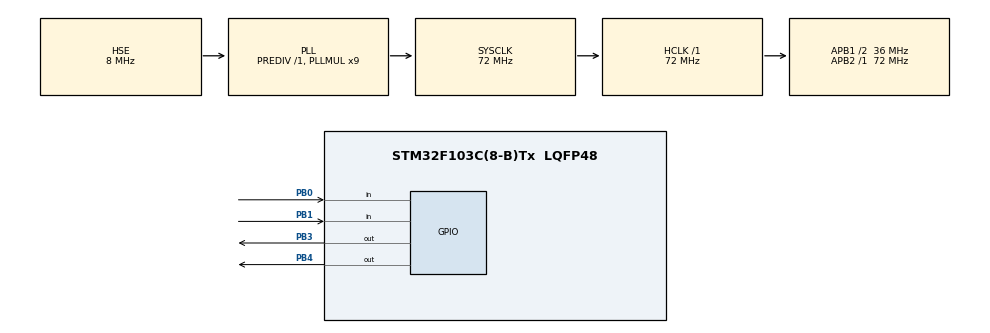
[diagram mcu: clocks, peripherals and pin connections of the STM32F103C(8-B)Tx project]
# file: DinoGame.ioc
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Mcu.Family=STM32F1
Mcu.Name=STM32F103C(8-B)Tx
Mcu.Package=LQFP48
NVIC.PriorityGroup=NVIC_PRIORITYGROUP_4
NVIC.TIM2_IRQn=true\:0\:0\:false\:false\:true\:true\:true\:true
PA13.Mode=Serial_Wire
PA13.Signal=SYS_JTMS-SWDIO
PA14.Mode=Serial_Wire
PA14.Signal=SYS_JTCK-SWCLK
PB0.GPIO_PuPd=GPIO_PULLUP
PB0.Signal=GPIO_Input
PB1.GPIO_PuPd=GPIO_PULLUP
PB1.Signal=GPIO_Input
PB3.GPIO_PuPd=GPIO_PULLUP
PB3.GPIO_Speed=GPIO_SPEED_FREQ_HIGH
PB3.Signal=GPIO_Output
PB4.GPIO_PuPd=GPIO_PULLUP
PB4.GPIO_Speed=GPIO_SPEED_FREQ_HIGH
PB4.Signal=GPIO_Output
PD0-OSC_IN.Mode=HSE-External-Oscillator
PD0-OSC_IN.Signal=RCC_OSC_IN
PD1-OSC_OUT.Mode=HSE-External-Oscillator
PD1-OSC_OUT.Signal=RCC_OSC_OUT
ProjectManager.HeapSize=0x200
ProjectManager.StackSize=0x400
ProjectManager.TargetToolchain=MDK-ARM V5.32
RCC.AHBFreq_Value=72000000
RCC.APB1CLKDivider=RCC_HCLK_DIV2
RCC.APB1Freq_Value=36000000
RCC.APB1TimFreq_Value=72000000
RCC.APB2Freq_Value=72000000
RCC.APB2TimFreq_Value=72000000
RCC.HCLKFreq_Value=72000000
RCC.PLLMUL=RCC_PLL_MUL9
RCC.PLLSourceVirtual=RCC_PLLSOURCE_HSE
RCC.SYSCLKFreq_VALUE=72000000
RCC.SYSCLKSource=RCC_SYSCLKSOURCE_PLLCLK
RCC.USBFreq_Value=72000000
VP_TIM2_VS_ClockSourceINT.Mode=Internal
board=custom

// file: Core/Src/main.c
/* USER CODE BEGIN Header */
/**
  ******************************************************************************
  * @file           : main.c
  * @brief          : Main program body
  ******************************************************************************
  * @attention
  *
  * Copyright (c) 2022 STMicroelectronics.
  * All rights reserved.
  *
  * This software is licensed under terms that can be found in the LICENSE file
  * in the root directory of this software component.
  * If no LICENSE file comes with this software, it is provided AS-IS.
  *
  ******************************************************************************
  */
/* USER CODE END Header */
#include "main.h"
#include "tim.h"
#include "gpio.h"

/* USER CODE BEGIN Includes */
#include "oled12864.h"
/* USER CODE END Includes */

/* USER CODE BEGIN PTD */
volatile uint8_t game_update_flag = 0;
uint8_t game_running = 0;
uint8_t jump_active = 0;
uint8_t game_passed = 0;
uint32_t score = 0;
uint32_t high_score = 0;
uint32_t game_end_tick = 0;
/* USER CODE END PTD */

void SystemClock_Config(void);
void HAL_TIM_PeriodElapsedCallback(TIM_HandleTypeDef *htim);

/* USER CODE BEGIN 0 */
int get_key_val()
{
	if(HAL_GPIO_ReadPin(GPIOB, GPIO_PIN_0)==0)
	{
		return 2;
	}
	if(HAL_GPIO_ReadPin(GPIOB, GPIO_PIN_1)==0)
	{
		return 1;
	}
	return 0;
}
/* USER CODE END 0 */

int main(void)
{

  /* MCU Configuration--------------------------------------------------------*/

  /* Reset of all peripherals, Initializes the Flash interface and the Systick. */
  HAL_Init();

  /* Configure the system clock */
  SystemClock_Config();

  /* Initialize all configured peripherals */
  MX_GPIO_Init();
  MX_TIM2_Init();
  HAL_TIM_Base_Start_IT(&htim2);
  /* USER CODE BEGIN 2 */
  OLED_Init();
  OLED_DrawCover(high_score);

  while(get_key_val()!=2);
  HAL_Delay(100);
  OLED_Clear();

  /* USER CODE END 2 */

  /* Infinite loop */
  while (1)
  {

    /* USER CODE BEGIN 3 */
    uint8_t key = get_key_val();

    if (key == 2) { // Start/Restart button
      game_running = 1;
      jump_active = 0;
      game_passed = 0;
      score = 0;
      game_end_tick = 0;
      OLED_ResetCactus();
      OLED_DrawDinoJump(1); // Reset jump
      OLED_Clear();
      HAL_Delay(100);
    }

    if (game_running) {
      if (key == 1 && !jump_active) { // Jump button, start jump if not already jumping
        jump_active = 1;
        OLED_DrawDinoJump(0); // Start jump
      }

      if (game_update_flag) {
        game_update_flag = 0;

        // Update game
        OLED_Clear();
        OLED_DrawCloud();

        // Draw dino
        if (jump_active) {
          int height = OLED_DrawDinoJump(0);
          if (height == 0) {
            jump_active = 0; // Jump finished
          }
        } else {
          OLED_DrawDino();
        }

        // Draw cactus and get current x position
        int current_cactus_pos = OLED_DrawCactus();

        // Check collision and stop game if hit
        if (current_cactus_pos <= 32 && current_cactus_pos >= 16 && !jump_active) {
          game_running = 0;
          game_passed = 0;
          OLED_DrawRestart(0);
          game_end_tick = HAL_GetTick();
        }

        // Update score
        score++;
        OLED_ShowNum(100, 0, score, 3, 16);

        // Check if score reaches 200, end game
        if (score >= 1000) {
          game_running = 0;
          game_passed = 1;
          OLED_DrawRestart(1);
          game_end_tick = HAL_GetTick();
        }
      }
    }

    if (!game_running && game_end_tick) {
      if (key != 0) {
        game_end_tick = HAL_GetTick();
      } else if (HAL_GetTick() - game_end_tick >= 3000) {
        OLED_DrawCover(high_score);
        game_end_tick = 0;
      }
    }

    // Update high score if game ended
    if (!game_running && score > high_score) {
      high_score = score;
    }
  }
  /* USER CODE END 3 */
}

void SystemClock_Config(void)
{
  RCC_OscInitTypeDef RCC_OscInitStruct = {0};
  RCC_ClkInitTypeDef RCC_ClkInitStruct = {0};

  /** Initializes the RCC Oscillators according to the specified parameters
  * in the RCC_OscInitTypeDef structure.
  */
  RCC_OscInitStruct.OscillatorType = RCC_OSCILLATORTYPE_HSE;
  RCC_OscInitStruct.HSEState = RCC_HSE_ON;
  RCC_OscInitStruct.HSEPredivValue = RCC_HSE_PREDIV_DIV1;
  RCC_OscInitStruct.HSIState = RCC_HSI_ON;
  RCC_OscInitStruct.PLL.PLLState = RCC_PLL_ON;
  RCC_OscInitStruct.PLL.PLLSource = RCC_PLLSOURCE_HSE;
  RCC_OscInitStruct.PLL.PLLMUL = RCC_PLL_MUL9;
  if (HAL_RCC_OscConfig(&RCC_OscInitStruct) != HAL_OK)
  {
    Error_Handler();
  }

  /** Initializes the CPU, AHB and APB buses clocks
  */
  RCC_ClkInitStruct.ClockType = RCC_CLOCKTYPE_HCLK|RCC_CLOCKTYPE_SYSCLK
                              |RCC_CLOCKTYPE_PCLK1|RCC_CLOCKTYPE_PCLK2;
  RCC_ClkInitStruct.SYSCLKSource = RCC_SYSCLKSOURCE_PLLCLK;
  RCC_ClkInitStruct.AHBCLKDivider = RCC_SYSCLK_DIV1;
  RCC_ClkInitStruct.APB1CLKDivider = RCC_HCLK_DIV2;
  RCC_ClkInitStruct.APB2CLKDivider = RCC_HCLK_DIV1;

  if (HAL_RCC_ClockConfig(&RCC_ClkInitStruct, FLASH_LATENCY_2) != HAL_OK)
  {
    Error_Handler();
  }
}

void Error_Handler(void)
{
  __disable_irq();
  while (1)
  {
  }
}

void HAL_TIM_PeriodElapsedCallback(TIM_HandleTypeDef *htim)
{
  if (htim->Instance == TIM2)
  {
    game_update_flag = 1;
  }
}
